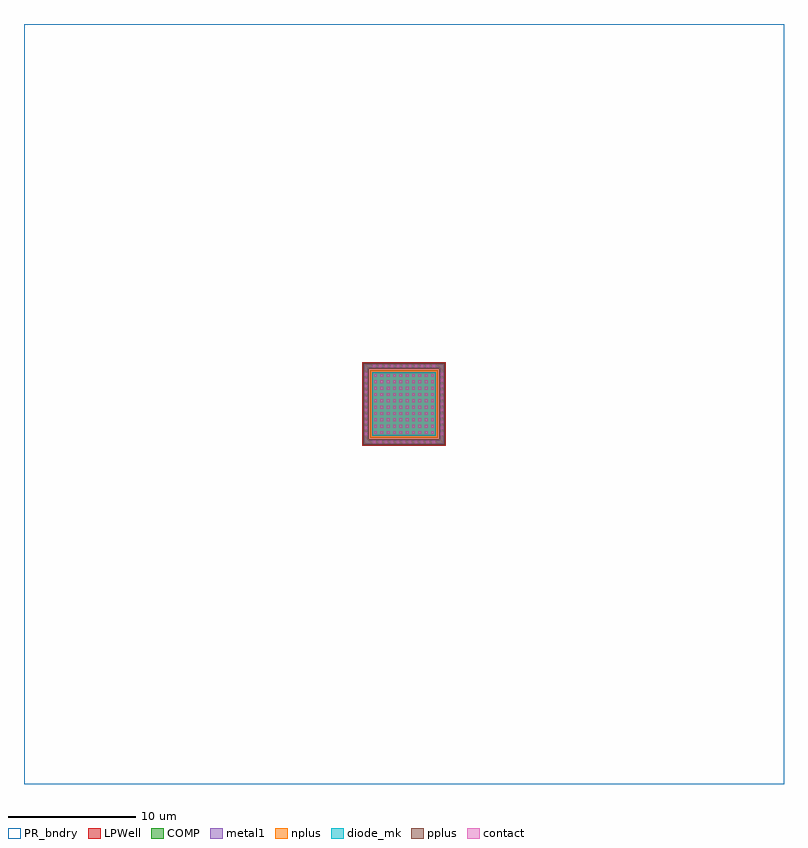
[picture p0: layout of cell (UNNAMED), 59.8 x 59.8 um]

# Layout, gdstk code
import gdstk
lib = gdstk.Library(unit=1e-6, precision=1e-09)
def R(c, l, rs):  # rectangles x0, y0, x1, y1
    for r in rs: c.add(gdstk.rectangle(r[:2], r[2:], *l))
def A(c, l, x, y, w, h, nx, ny, dx, dy):  # array of equal rectangles
    R(c, l, [(x+i*dx, y+j*dy, x+i*dx+w, y+j*dy+h) for i in range(nx) for j in range(ny)])
PR_bndry = (0, 0)
COMP = (22, 0)
pplus = (31, 0)
nplus = (32, 0)
contact = (33, 0)
metal1 = (34, 0)
diode_mk = (115, 5)
LPWell = (204, 0)

c__unnamed_ = lib.new_cell('(UNNAMED)')
R(c__unnamed_, PR_bndry, [(-29.9,-29.9,29.9,29.9)])
R(c__unnamed_, COMP, [(-3.18,-3.18,3.18,-2.8), (-3.18,-2.8,-2.8,2.8), (2.8,-2.8,3.18,2.8), (-2.5,-2.5,2.5,2.5), (-3.18,2.8,3.18,3.18)])
R(c__unnamed_, pplus, [(-2.675,-3.21,2.675,-3.2), (-3.2,-3.2,3.2,-2.77), (-3.2,-2.77,-2.77,-2.675), (2.77,-2.77,3.2,-2.675), (-3.21,-2.675,-2.77,2.675), (2.77,-2.675,3.21,2.675), (-3.2,2.675,-2.77,2.77), (2.77,2.675,3.2,2.77), (-3.2,2.77,3.2,3.2), (-2.675,3.2,2.675,3.21)])
R(c__unnamed_, nplus, [(-2.66,-2.66,2.66,2.66)])
A(c__unnamed_, contact, -2.46, -3.1, 0.22, 0.22, 11, 2, 0.47, 5.98)
A(c__unnamed_, contact, -3.1, -2.46, 0.22, 0.22, 1, 11, 0, 0.47)
A(c__unnamed_, contact, 2.88, -2.46, 0.22, 0.22, 1, 11, 0, 0.47)
A(c__unnamed_, contact, -2.36, -2.36, 0.22, 0.22, 10, 10, 0.5, 0.5)
R(c__unnamed_, metal1, [(-3.115,-3.115,3.115,-2.865), (-3.115,-2.865,-2.865,2.865), (2.865,-2.865,3.115,2.865), (-2.49,-2.435,2.49,2.435), (-3.115,2.865,3.115,3.115)])
R(c__unnamed_, diode_mk, [(-2.5,-2.5,2.5,2.5)])
R(c__unnamed_, LPWell, [(-3.3,-3.3,3.3,3.3)])

lib.write_gds('_UNNAMED_.gds')
